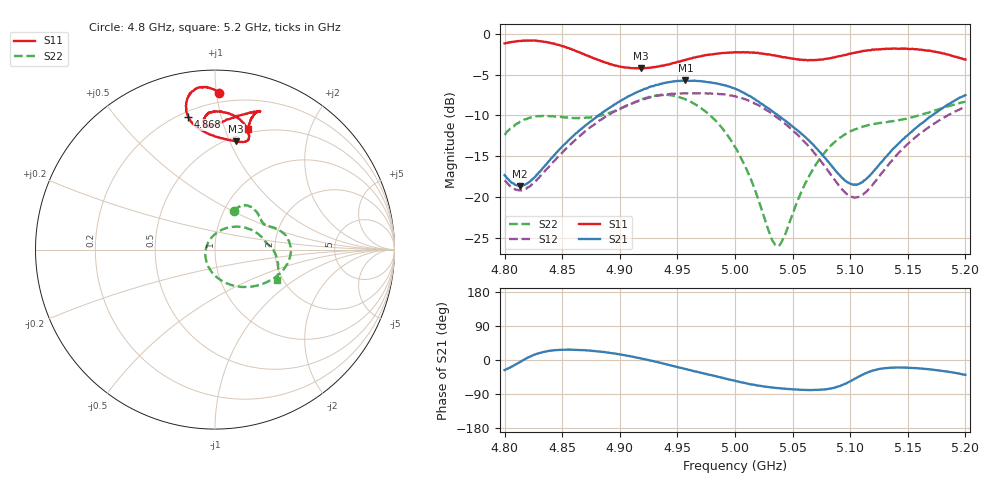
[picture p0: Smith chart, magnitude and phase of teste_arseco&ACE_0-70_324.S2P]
! Network Analyzer HP8722D
! Hewlett-Packard
! Data name: Linha & Wilkinson
! Saver's name: Rodrigo Anjos
! Comments: Teste da utilização de aquisição
! continua pelo VNA HP8722D
! Time and date: 8/5/2025 15:27
!  Frequency  S11  S21  S12  S22
# HZ  S  MA R 50
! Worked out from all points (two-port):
!   401 points, 4.8 GHz to 5.2 GHz, reference 50 ohm
!   highest |S21| = -5.73 dB at 4.957 GHz (marker M1); lowest = -18.6 dB at 4.813 GHz (marker M2)
!   |S21| within 3 dB of the highest: 4.895 GHz to 5.025 GHz (129.9 MHz wide, 2.62 % of centre); 5.18401 GHz to end of sweep
!   lowest |S11| = -4.2 dB at 4.918 GHz (marker M3), VSWR 4.18, Z = 27.3 + j52.8 ohm
!   |S11| at or under -10 dB: nowhere
!   |S22| runs from -26.0 to -7.5 dB; largest |S21 - S12| = 0.89
!   S11 on the Smith chart (normalised r, x): 4.8 GHz: 0.14, +1.02; 4.868 GHz: 0.23, +0.79; 5.2 GHz: 0.46, +1.20
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4.8e9  0.8715 88.5  0.136 -26.6  0.1265 101.0  0.2402 64.0
4.813e9  0.9036 92.2  0.1169 -5.9  0.11 119.0  0.2881 58.5
4.841e9  0.8748 99.5  0.1737 25.1  0.1604 148.6  0.3128 41.7
4.867e9  0.7574 101.4  0.2624 26.0  0.2421 153.3  0.3051 30.5
4.868e9  0.754 101.3  0.2664 25.9  0.2456 153.2  0.3036 29.8
4.896e9  0.6385 91.8  0.3701 16.9  0.3356 147.2  0.3379 22.1
4.918e9  0.6138 78.9  0.4462 4.3  0.3906 138.1  0.3924 13.2
4.934e9  0.6307 73.6  0.4884 -6.8  0.419 129.1  0.4201 2.6
4.957e9  0.6916 74.8  0.517 -23.7  0.4306 114.7  0.3966 -16.7
4.98e9  0.7471 80.9  0.5003 -40.4  0.4292 99.9  0.3088 -40.5
5e9  0.771 87.3  0.4613 -55.1  0.4147 85.9  0.2022 -69.5
5.019e9  0.7637 92.3  0.3885 -66.9  0.3685 73.0  0.1021 -111.3
5.031e9  0.7428 94.2  0.3399 -72.1  0.328 66.5  0.05731 -159.2
5.036e9  0.7321 94.8  0.3216 -73.8  0.3087 64.2  0.05016 169.1
5.042e9  0.7177 95.0  0.2991 -75.5  0.2862 61.9  0.05602 131.2
5.067e9  0.6891 92.5  0.2122 -79.2  0.1934 57.9  0.1448 58.0
5.083e9  0.7094 87.6  0.158 -75.3  0.1375 63.2  0.2056 36.7
5.103e9  0.7624 79.2  0.1187 -51.1  0.0994 91.1  0.2578 19.4
5.114e9  0.7871 75.3  0.129 -34.2  0.1078 110.5  0.2729 13.4
5.134e9  0.8094 72.1  0.1857 -20.5  0.1601 125.8  0.2895 7.3
5.169e9  0.7866 73.9  0.3086 -24.6  0.2699 120.7  0.3308 -2.1
5.2e9  0.6951 74.6  0.4203 -39.2  0.3576 108.6  0.3831 -25.9
